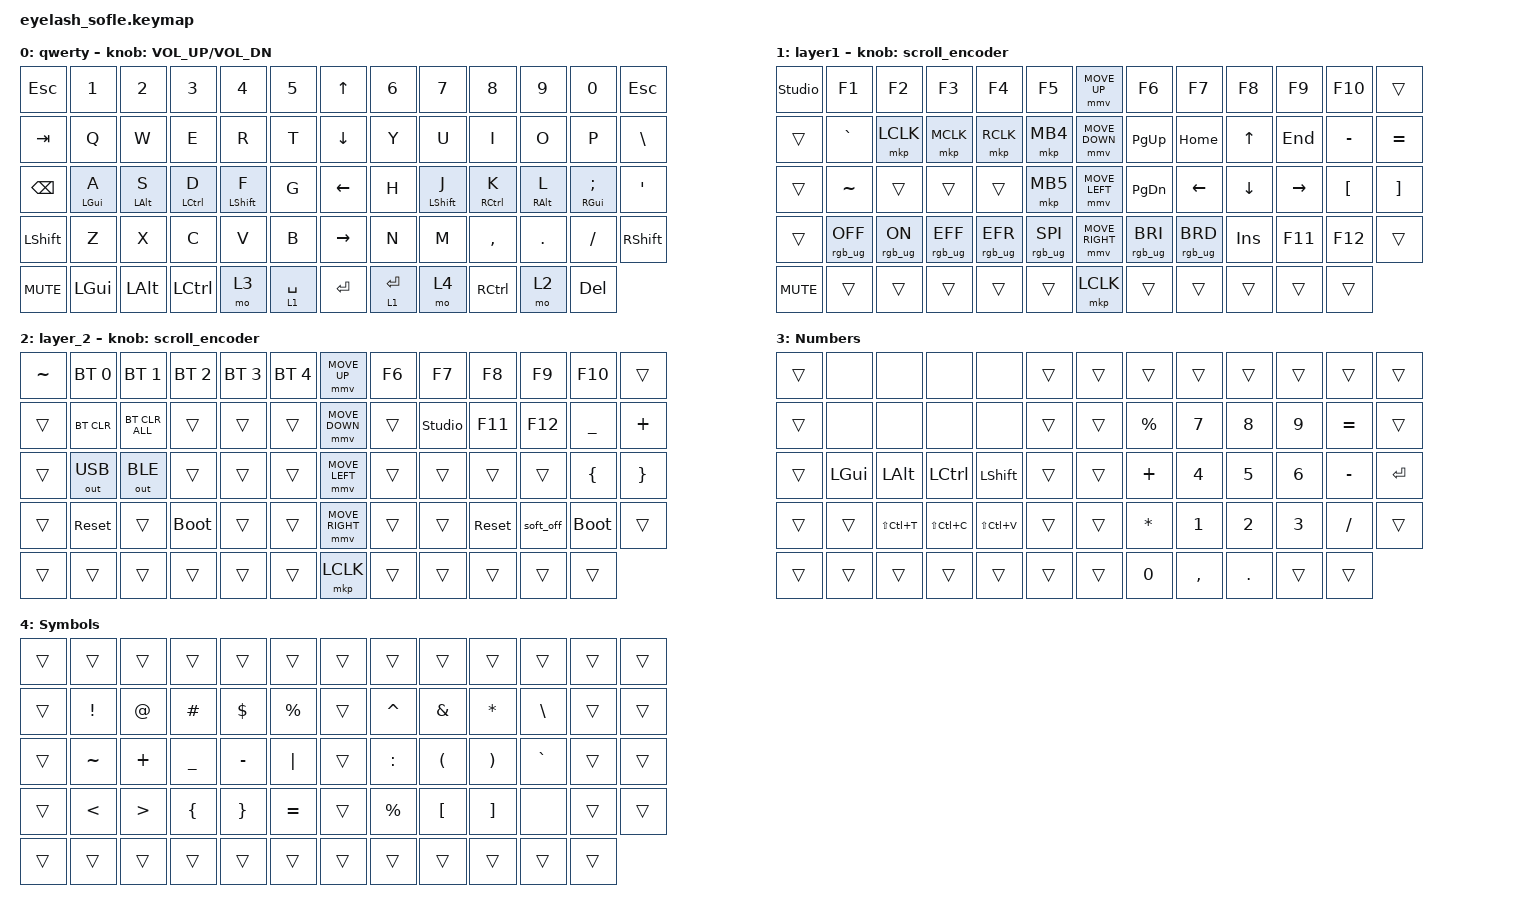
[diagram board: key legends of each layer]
#define ZMK_POINTING_DEFAULT_MOVE_VAL 1200  // 600
#define ZMK_POINTING_DEFAULT_SCRL_VAL 25   // 10
#define HM_TAPPING_TERM 300
#define HM_TAPPING_TERM_FAST 200
#define HM_PRIOR_IDLE 150

#include <input/processors.dtsi>
#include <zephyr/dt-bindings/input/input-event-codes.h>
#include <behaviors.dtsi>
#include <dt-bindings/zmk/bt.h>
#include <dt-bindings/zmk/keys.h>
#include <dt-bindings/zmk/outputs.h>
#include <dt-bindings/zmk/pointing.h>
#include <dt-bindings/zmk/rgb.h>

&mmv_input_listener { input-processors = <&zip_xy_scaler 2 1>; };

&msc_input_listener { input-processors = <&zip_scroll_scaler 2 1>; };

&msc {
    acceleration-exponent = <1>;      // 0
    time-to-max-speed-ms = <100>;       // 300
    delay-ms = <0>;                   // 0
};

&mmv {
    time-to-max-speed-ms = <500>;
    acceleration-exponent = <1>;
    trigger-period-ms = <16>;
};

/ {

    behaviors {
        // Positional Homerow mods
        // Homerow mods that prevent accidental activations when rolling keys,
        // such as when typing `st` or `ne` on colemak-dh layouts or `as` on
        // qwerty.
        //
        // Works by only allowing a mod to activate within tapping-term if
        // it's on the opposite side of the keyboard or on the same side thumb
        // keys.
        // Further optimization using urob's timerless homerow mods method:
        // https://github.com/urob/zmk-config#timeless-homerow-mods

        hm_l: homerow_mods_left {
            compatible = "zmk,behavior-hold-tap";
            #binding-cells = <2>;
            bindings = <&kp>, <&kp>;

            flavor = "balanced";
            tapping-term-ms = <HM_TAPPING_TERM>;
            quick-tap-ms = <175>;                // repeat on tap-into-hold
            require-prior-idle-ms = <HM_PRIOR_IDLE>;
            hold-trigger-key-positions = <6 7 20 21 22 35 36 45 46 47 8 9 10 11 12 23 24 25 37 38 19 34 58 32 33 48 49 50 51 63 62 61 60 59>;
            hold-trigger-on-release;
        };

        hm_r: homerow_mods_right {
            compatible = "zmk,behavior-hold-tap";
            #binding-cells = <2>;
            bindings = <&kp>, <&kp>;

            flavor = "balanced";
            tapping-term-ms = <HM_TAPPING_TERM>;
            quick-tap-ms = <175>;
            require-prior-idle-ms = <HM_PRIOR_IDLE>;
            hold-trigger-key-positions = <0 1 2 3 4 5 13 14 15 16 17 18 28 29 30 31 42 43 44 52 57 56 55 54 53 41 40 27 26 39>;
            hold-trigger-on-release;
        };


        layer_tap: layer_tap {
            compatible = "zmk,behavior-hold-tap";
            label = "LAYER_TAP";
            bindings = <&mo>, <&kp>;

            #binding-cells = <2>;
            quick-tap-ms = <175>;
            flavor = "tap-preferred";
            tapping-term-ms = <280>;
        };

          scroll_encoder: scroll_encoder {
            compatible = "zmk,behavior-sensor-rotate";
            #sensor-binding-cells = <0>;
            bindings = <&msc SCRL_DOWN>, <&msc SCRL_UP>;

            tap-ms = <100>;
        };

    };

    keymap {
        compatible = "zmk,keymap";

        qwerty {
            bindings = <
&kp ESC        &kp N1            &kp N2        &kp N3         &kp N4         &kp N5         &kp UP_ARROW     &kp N6       &kp N7         &kp N8             &kp N9        &kp N0                     &kp ESC
&kp TAB        &kp Q             &kp W         &kp E          &kp R          &kp T          &kp DOWN_ARROW   &kp Y        &kp U          &kp I              &kp O         &kp P                      &kp BSLH
&kp BACKSPACE  &hm_l LEFT_GUI A  &hm_l LALT S  &hm_l LCTRL D  &hm_l LSHFT F  &kp G          &kp LEFT_ARROW   &kp H        &hm_r LSHFT J  &hm_r RCTRL K      &hm_r RALT L  &hm_r RIGHT_GUI SEMICOLON  &kp APOS
&kp LSHFT      &kp Z             &kp X         &kp C          &kp V          &kp B          &kp RIGHT_ARROW  &kp N        &kp M          &kp COMMA          &kp DOT       &kp FSLH                   &kp RIGHT_SHIFT
&kp C_MUTE     &kp LEFT_GUI      &kp LEFT_ALT  &kp LCTRL      &mo 3          &lt 1 SPACE    &kp ENTER        &lt 1 ENTER  &mo 4          &kp RIGHT_CONTROL  &mo 2         &kp DELETE
            >;

            sensor-bindings = <&inc_dec_kp C_VOLUME_UP C_VOL_DN>;
            display-name = "qwerty";
        };

        layer_1 {
            bindings = <
&studio_unlock  &kp F1           &kp F2          &kp F3           &kp F4           &kp F5             &mmv MOVE_UP     &kp F6           &kp F7           &kp F8      &kp F9     &kp F10           &trans
&trans          &kp GRAVE        &mkp LCLK       &mkp MCLK        &mkp RCLK        &mkp MB4           &mmv MOVE_DOWN   &kp PG_UP        &kp HOME         &kp UP      &kp END    &kp MINUS         &kp EQUAL
&trans          &kp TILDE        &trans          &trans           &trans           &mkp MB5           &mmv MOVE_LEFT   &kp PG_DN        &kp LEFT         &kp DOWN    &kp RIGHT  &kp LEFT_BRACKET  &kp RIGHT_BRACKET
&trans          &rgb_ug RGB_OFF  &rgb_ug RGB_ON  &rgb_ug RGB_EFF  &rgb_ug RGB_EFR  &rgb_ug RGB_SPI    &mmv MOVE_RIGHT  &rgb_ug RGB_BRI  &rgb_ug RGB_BRD  &kp INSERT  &kp F11    &kp F12           &trans
&kp C_MUTE      &trans           &trans          &trans           &trans           &trans             &mkp LCLK        &trans           &trans           &trans      &trans     &trans
            >;

            display-name = "layer1";
            sensor-bindings = <&scroll_encoder>;
        };

        layer_2 {
            bindings = <
&kp TILDE  &bt BT_SEL 0  &bt BT_SEL 1    &bt BT_SEL 2  &bt BT_SEL 3  &bt BT_SEL 4    &mmv MOVE_UP     &kp F6  &kp F7          &kp F8      &kp F9     &kp F10      &trans
&trans     &bt BT_CLR    &bt BT_CLR_ALL  &trans        &trans        &trans          &mmv MOVE_DOWN   &trans  &studio_unlock  &kp F11     &kp F12    &kp UNDER    &kp PLUS
&trans     &out OUT_USB  &out OUT_BLE    &trans        &trans        &trans          &mmv MOVE_LEFT   &trans  &trans          &trans      &trans     &kp LBRC     &kp RBRC
&trans     &sys_reset    &trans          &bootloader   &trans        &trans          &mmv MOVE_RIGHT  &trans  &trans          &sys_reset  &soft_off  &bootloader  &trans
&trans     &trans        &trans          &trans        &trans        &trans          &mkp LCLK        &trans  &trans          &trans      &trans     &trans
            >;

            sensor-bindings = <&scroll_encoder>;
        };

        Numbers {
            bindings = <
&trans  &none         &none          &none             &none           &trans    &trans  &trans        &trans        &trans        &trans        &trans     &trans
&trans  &none         &none          &none             &none           &trans    &trans  &kp PERCENT   &kp NUMBER_7  &kp NUMBER_8  &kp NUMBER_9  &kp EQUAL  &trans
&trans  &kp LEFT_GUI  &kp LEFT_ALT   &kp LEFT_CONTROL  &kp LEFT_SHIFT  &trans    &trans  &kp PLUS      &kp NUMBER_4  &kp NUMBER_5  &kp NUMBER_6  &kp MINUS  &kp ENTER
&trans  &trans        &kp LS(LC(T))  &kp LS(LC(C))     &kp LS(LC(V))   &trans    &trans  &kp ASTERISK  &kp NUMBER_1  &kp NUMBER_2  &kp NUMBER_3  &kp SLASH  &trans
&trans  &trans        &trans         &trans            &trans          &trans    &trans  &kp N0        &kp COMMA     &kp PERIOD    &trans        &trans
            >;
        };

        Symbols {
            bindings = <
&trans  &trans           &trans            &trans          &trans           &trans         &trans  &trans       &trans                &trans                 &trans         &trans  &trans
&trans  &kp EXCLAMATION  &kp AT_SIGN       &kp HASH        &kp DOLLAR       &kp PERCENT    &trans  &kp CARET    &kp AMPERSAND         &kp ASTERISK           &kp BACKSLASH  &trans  &trans
&trans  &kp TILDE        &kp PLUS          &kp UNDERSCORE  &kp MINUS        &kp PIPE       &trans  &kp COLON    &kp LEFT_PARENTHESIS  &kp RIGHT_PARENTHESIS  &kp GRAVE      &trans  &trans
&trans  &kp LESS_THAN    &kp GREATER_THAN  &kp LEFT_BRACE  &kp RIGHT_BRACE  &kp EQUAL      &trans  &kp PERCENT  &kp LEFT_BRACKET      &kp RIGHT_BRACKET      &none          &trans  &trans
&trans  &trans           &trans            &trans          &trans           &trans         &trans  &trans       &trans                &trans                 &trans         &trans
            >;
        };
    };
};
